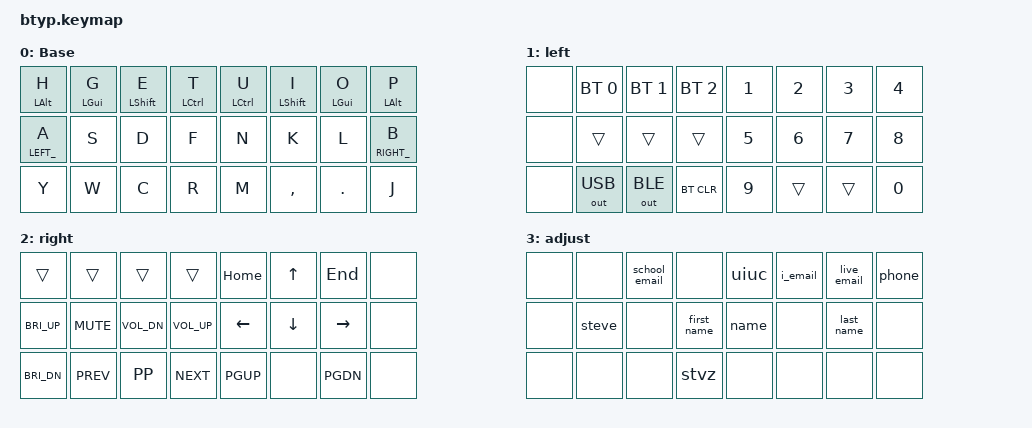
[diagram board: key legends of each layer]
/*
 * Copyright (c) 2020 The ZMK Contributors
 *
 * SPDX-License-Identifier: MIT
 */

#include <behaviors.dtsi>
#include <dt-bindings/zmk/keys.h>
#include <dt-bindings/zmk/bt.h>
#include <dt-bindings/zmk/outputs.h>

/ {
    behaviors {
        // My Layertap
        ml: behavior_layer_tap {
            compatible = "zmk,behavior-hold-tap";
            #binding-cells = <2>;
            flavor = "tap-preferred";
            tapping-term-ms = <300>;
            bindings = <&mo>, <&kp>;
        };
        lm: left_mod_tap {
            compatible = "zmk,behavior-hold-tap";
            #binding-cells = <2>;
            flavor = "tap-preferred";
            tapping-term-ms = <300>;
            quick-tap-ms = <200>;
            bindings = <&kp>, <&kp>;
            hold-trigger-key-positions =
                <4 5 6 7
                12 13 14 15
                20 21 22 23>;
            hold-trigger-on-release;
            /* retro-tap; */
        };
        rm: right_mod_tap {
            compatible = "zmk,behavior-hold-tap";
            #binding-cells = <2>;
            flavor = "tap-preferred";
            tapping-term-ms = <300>;
            quick-tap-ms = <200>;
            bindings = <&kp>, <&kp>;
            hold-trigger-key-positions =
                <0 1 2 3
                8 9 10 11
                16 17 18 19>;
            hold-trigger-on-release;
            /* retro-tap; */
        };
    };
    combos {
        compatible = "zmk,combos";
#define CONCAT2(x, y) x ## y
#define CONCAT(x, y) CONCAT2(x, y)
#define _(pos, k) CONCAT(combo, __COUNTER__) { key-positions = <pos>; bindings = <&kp k>; layers = <0 1 2 3>; timeout-ms = <75>; };

        /* unlock { key-positions = <0 1 2 3 4 5 6 7>; bindings = <&studio_unlock>; layers = <0>; timeout-ms = <100>; }; */
        _(0 1, Q)    _(1 2, V)       _(2 3, ESC)   _(4 5, RET)   _(5 6, EQUAL)  _(6 7, PLUS)
        _(8 9, EXCL) _(9 10, DOLLAR) _(10 11, SPACE) _(12 13, BSPC) _(13 14, SEMI) _(14 15, COLON)
        _(16 17, Z)  _(17 18, X)     _(18 19, TAB) _(20 21, DEL) _(21 22, FSLH) _(22 23, QMARK)

        _(0 8, BSLH)     _(1 9, GRAVE)  _(2 10, AMPS)  _(3 11, STAR)  _(4 12, UNDER)  _(5 13, DQT) _(6 14, SQT) _(7 15, CARET)
        _(8 16, PERCENT) _(9 17, TILDE) _(10 18, PIPE) _(11 19, HASH) _(12 20, MINUS) _(13 21, LT) _(14 22, GT) _(15 23, AT)

        _(1 3, LBKT) _(4 6, RBKT)
        _(9 11, LPAR) _(12 14, RPAR)
        _(17 19, LBRC) _(20 22, RBRC)
    };

#define BASE  0
#define LEFT_  1
#define RIGHT_ 2
#define ADJUST 3

    macros {
        #include "macros.dtsi"
    };

    adjust {
        compatible = "zmk,conditional-layers";
        tri_layer {
            if-layers = <LEFT_ RIGHT_>;
            then-layer = <ADJUST>;
        };
    };

    keymap0: keymap {
        compatible = "zmk,keymap";
        base {
            display-name = "Base";
            bindings = <
                // Z X V Q
&lm LALT H  &lm LGUI G &lm LSHFT E &lm LCTRL T &rm LCTRL U &rm LSHFT I &rm LGUI O &rm LALT P
&ml LEFT_ A &kp S      &kp D       &kp F       &kp N       &kp K       &kp L      &ml RIGHT_ B
&kp Y       &kp W      &kp C       &kp R       &kp M       &kp COMMA   &kp DOT    &kp J

/* &lm LALT B  &lm LGUI F &lm LSHFT D &lm LCTRL M &rm LCTRL L &rm LSHFT O &rm LGUI U &rm LALT Y */
/* &ml LEFT_ N &kp S      &kp T       &kp G       &kp R       &kp A       &kp E      &ml RIGHT_ I */
/* &kp P       &kp C      &kp K       &kp W       &kp H       &kp COMMA   &kp DOT    &kp J */
            >;
        };
        left {
            bindings = <
            &none &bt BT_SEL 0 &bt BT_SEL 1 &bt BT_SEL 2 &kp N1 &kp N2 &kp N3 &kp N4
            &none &trans       &trans       &trans       &kp N5 &kp N6 &kp N7 &kp N8
            &none &out OUT_USB &out OUT_BLE &bt BT_CLR   &kp N9 &trans &trans &kp N0
            >;
        };


            
        right {
            bindings = <
             &trans       &trans     &trans       &trans       &kp HOME &kp UP   &kp END   &none
             &kp C_BRI_UP &kp C_MUTE &kp C_VOL_DN &kp C_VOL_UP &kp LEFT &kp DOWN &kp RIGHT &none
             &kp C_BRI_DN &kp K_PREV &kp K_PP     &kp K_NEXT   &kp PGUP &none    &kp PGDN  &none
            >;
        };

        adjust {
            bindings = <
            &none &none  &school_email &none       &uiuc &i_email &live_email &phone
            &none &steve &none         &first_name &name &none    &last_name  &none
            &none &none  &none         &stvz       &none &none    &none       &none
            >;
        };
    };
};
